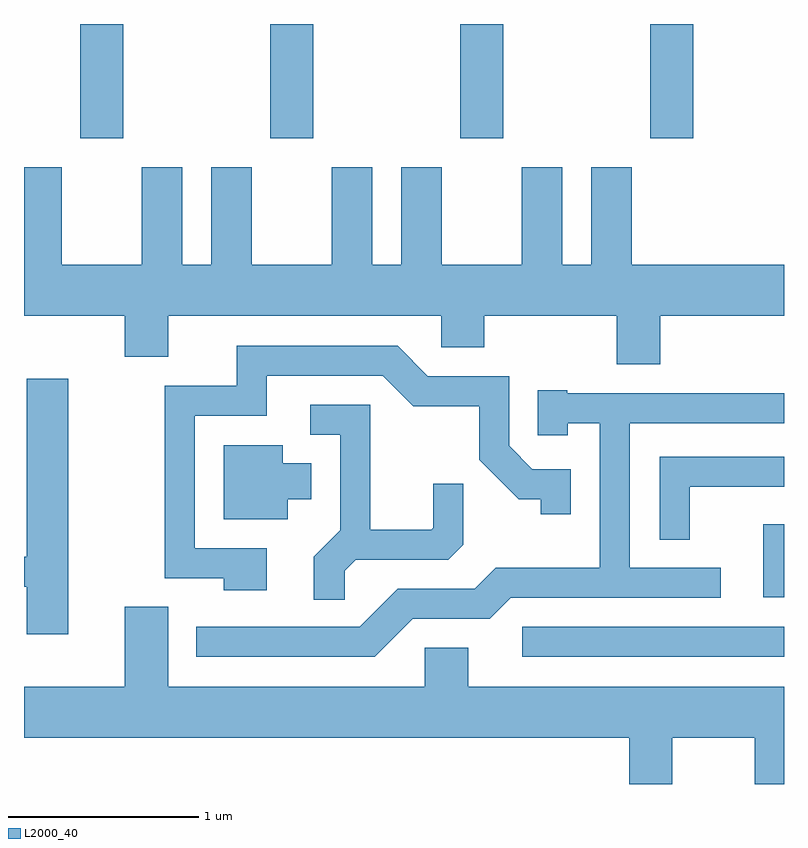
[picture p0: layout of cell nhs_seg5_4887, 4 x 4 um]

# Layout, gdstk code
import gdstk
lib = gdstk.Library(unit=1e-6, precision=1e-09)
def R(c, l, rs):  # rectangles x0, y0, x1, y1
    for r in rs: c.add(gdstk.rectangle(r[:2], r[2:], *l))
def A(c, l, x, y, w, h, nx, ny, dx, dy):  # array of equal rectangles
    R(c, l, [(x+i*dx, y+j*dy, x+i*dx+w, y+j*dy+h) for i in range(nx) for j in range(ny)])
def P(c, l, *ps):  # polygons
    for p in ps: c.add(gdstk.Polygon(p, *l))
L2000_40 = (2000, 40)

nhs_seg5_4887 = lib.new_cell('nhs_seg5_4887')
A(nhs_seg5_4887, L2000_40, 329.906, 1495.471, 0.228, 0.601, 4, 1, 1, 0)
R(nhs_seg5_4887, L2000_40, [(332.233,1492.741,333.611,1492.899), (333.501,1493.056,333.611,1493.439)])
P(nhs_seg5_4887, L2000_40, [(332.959,1494.536),(333.611,1494.536),(333.611,1494.804),(332.809,1494.804),(332.809,1495.319),(332.596,1495.319),(332.596,1494.804),(332.444,1494.804),(332.444,1495.319),(332.231,1495.319),(332.231,1494.804),(331.809,1494.804),(331.809,1495.319),(331.596,1495.319),(331.596,1494.804),(331.444,1494.804),(331.444,1495.319),(331.231,1495.319),(331.231,1494.804),(330.809,1494.804),(330.809,1495.319),(330.596,1495.319),(330.596,1494.804),(330.444,1494.804),(330.444,1495.319),(330.231,1495.319),(330.231,1494.804),(329.809,1494.804),(329.809,1495.319),(329.611,1495.319),(329.611,1494.536),(330.141,1494.536),(330.141,1494.321),(330.369,1494.321),(330.369,1494.536),(331.806,1494.536),(331.806,1494.371),(332.034,1494.371),(332.034,1494.536),(332.731,1494.536),(332.731,1494.281),(332.959,1494.281)],
  [(330.889,1493.314),(330.509,1493.314),(330.509,1494.011),(330.889,1494.011),(330.889,1494.221),(331.499,1494.221),(331.659,1494.061),(332.006,1494.061),(332.006,1493.779),(332.214,1493.571),(332.331,1493.571),(332.331,1493.493),(332.489,1493.493),(332.489,1493.729),(332.287,1493.729),(332.164,1493.852),(332.164,1494.219),(331.737,1494.219),(331.577,1494.379),(330.731,1494.379),(330.731,1494.169),(330.351,1494.169),(330.351,1493.156),(330.661,1493.156),(330.661,1493.091),(330.889,1493.091)],
  [(329.844,1494.204),(329.626,1494.204),(329.626,1493.269),(329.611,1493.269),(329.611,1493.111),(329.626,1493.111),(329.626,1492.861),(329.844,1492.861)],
  [(331.657,1492.941),(332.062,1492.941),(332.172,1493.051),(333.278,1493.051),(333.278,1493.209),(332.799,1493.209),(332.799,1493.971),(333.611,1493.971),(333.611,1494.129),(332.47,1494.129),(332.47,1494.144),(332.316,1494.144),(332.316,1493.908),(332.474,1493.908),(332.474,1493.971),(332.641,1493.971),(332.641,1493.209),(332.094,1493.209),(331.984,1493.099),(331.579,1493.099),(331.379,1492.899),(330.518,1492.899),(330.518,1492.741),(331.457,1492.741)],
  [(331.299,1493.194),(331.357,1493.251),(331.844,1493.251),(331.924,1493.332),(331.924,1493.653),(331.766,1493.653),(331.766,1493.422),(331.754,1493.409),(331.434,1493.409),(331.434,1494.069),(331.118,1494.069),(331.118,1493.911),(331.276,1493.911),(331.276,1493.407),(331.136,1493.267),(331.136,1493.043),(331.299,1493.043)],
  [(330.999,1493.571),(331.124,1493.571),(331.124,1493.759),(330.974,1493.759),(330.974,1493.854),(330.661,1493.854),(330.661,1493.466),(330.999,1493.466)],
  [(333.114,1493.636),(333.611,1493.636),(333.611,1493.794),(332.956,1493.794),(332.956,1493.358),(333.114,1493.358)],
  [(333.024,1492.316),(333.456,1492.316),(333.456,1492.072),(333.611,1492.072),(333.611,1492.584),(331.949,1492.584),(331.949,1492.789),(331.721,1492.789),(331.721,1492.584),(330.369,1492.584),(330.369,1493.004),(330.141,1493.004),(330.141,1492.584),(329.611,1492.584),(329.611,1492.316),(332.796,1492.316),(332.796,1492.072),(333.024,1492.072)])

lib.write_gds('nhs_seg5_4887.gds')
